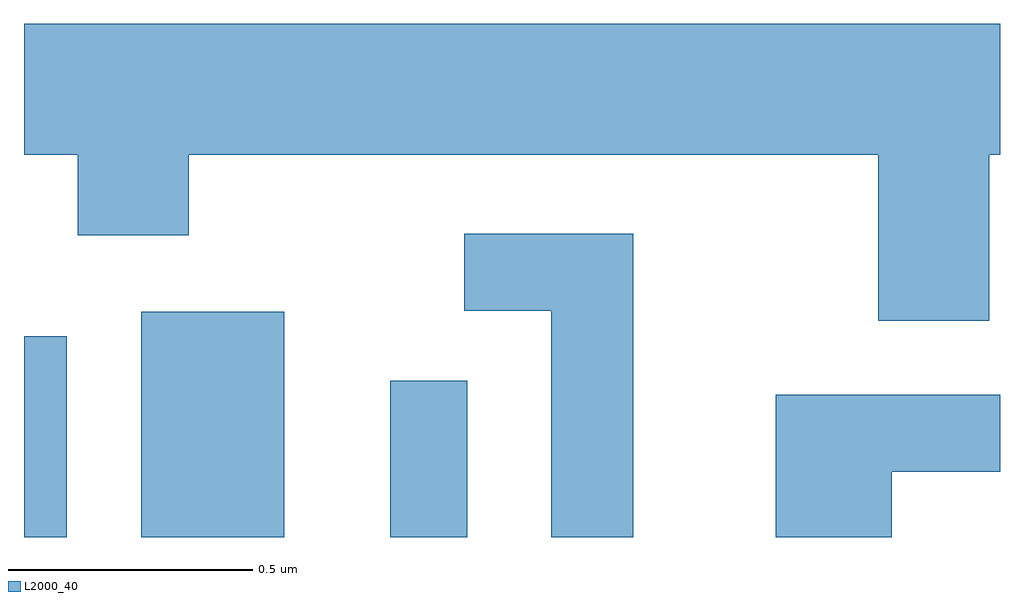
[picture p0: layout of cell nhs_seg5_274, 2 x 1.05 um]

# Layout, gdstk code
import gdstk
lib = gdstk.Library(unit=1e-6, precision=1e-09)
def R(c, l, rs):  # rectangles x0, y0, x1, y1
    for r in rs: c.add(gdstk.rectangle(r[:2], r[2:], *l))
def P(c, l, *ps):  # polygons
    for p in ps: c.add(gdstk.Polygon(p, *l))
L2000_40 = (2000, 40)

nhs_seg5_274 = lib.new_cell('nhs_seg5_274')
R(nhs_seg5_274, L2000_40, [(187.611,1396.072,187.699,1396.484), (187.851,1396.072,188.144,1396.534), (188.361,1396.072,188.519,1396.393)])
P(nhs_seg5_274, L2000_40, [(189.589,1396.856),(189.611,1396.856),(189.611,1397.124),(187.611,1397.124),(187.611,1396.856),(187.721,1396.856),(187.721,1396.691),(187.949,1396.691),(187.949,1396.856),(189.361,1396.856),(189.361,1396.516),(189.589,1396.516)],
  [(188.859,1396.694),(188.513,1396.694),(188.513,1396.536),(188.691,1396.536),(188.691,1396.072),(188.859,1396.072)],
  [(189.389,1396.206),(189.611,1396.206),(189.611,1396.364),(189.151,1396.364),(189.151,1396.072),(189.389,1396.072)])

lib.write_gds('nhs_seg5_274.gds')
